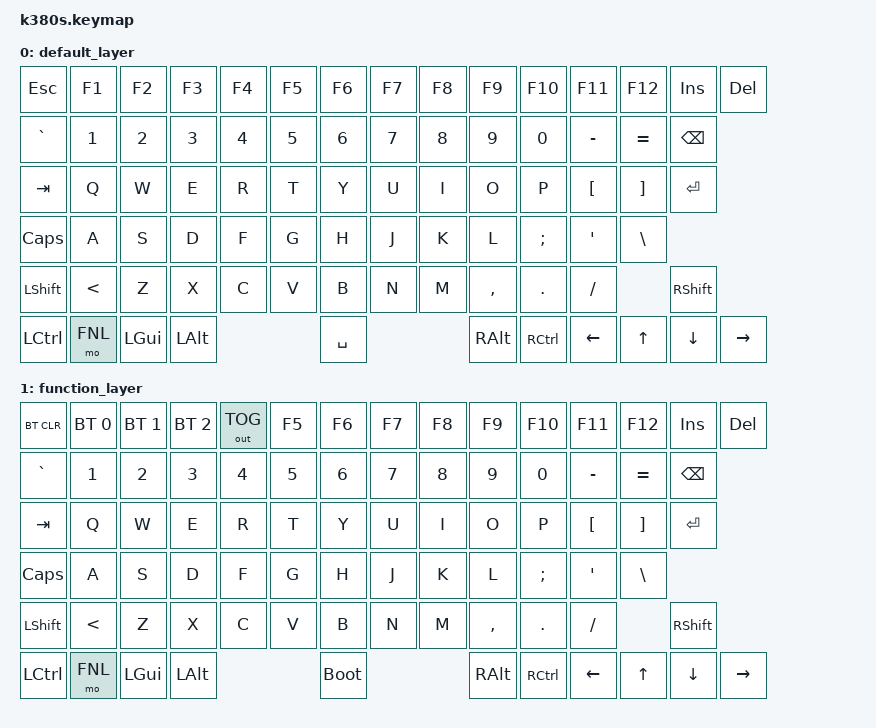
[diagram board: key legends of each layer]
#include <behaviors.dtsi>
#include <dt-bindings/zmk/keys.h>
#include <dt-bindings/zmk/bt.h>
#include <dt-bindings/zmk/outputs.h>

#define DEFAULT 0
#define FNL     1

/ {
  keymap0: keymap {
    compatible = "zmk,keymap";

    default_layer {
      bindings = <
&kp ESC    &kp F1  &kp F2   &kp F3    &kp F4  &kp F5  &kp F6  &kp F7  &kp F8  &kp F9    &kp F10   &kp F11   &kp F12    &kp INS   &kp DEL
&kp GRAV   &kp N1  &kp N2   &kp N3    &kp N4  &kp N5  &kp N6  &kp N7  &kp N8  &kp N9    &kp N0    &kp MINUS &kp EQUAL  &kp BSPC
&kp TAB    &kp Q   &kp W    &kp E     &kp R   &kp T   &kp Y   &kp U   &kp I   &kp  O    &kp P     &kp LBKT  &kp RBKT   &kp RET
&kp CLCK   &kp A   &kp S    &kp D     &kp F   &kp G   &kp H   &kp J   &kp K   &kp  L    &kp SEMI  &kp SQT   &kp BSLH
&kp LSHFT  &kp LT  &kp Z    &kp X     &kp C   &kp V   &kp B   &kp N   &kp M   &kp COMMA &kp DOT   &kp FSLH         &kp RSHFT
&kp LCTRL  &mo FNL &kp LGUI &kp LALT               &kp SPACE                  &kp RALT  &kp RCTRL &kp LEFT  &kp UP &kp DOWN   &kp RIGHT
        >;
    };

    function_layer {
      bindings = <
&bt BT_CLR &bt BT_SEL 0 &bt BT_SEL 1 &bt BT_SEL 2 &out OUT_TOG  &kp F5  &kp F6  &kp F7  &kp F8  &kp F9    &kp F10   &kp F11   &kp F12    &kp INS   &kp DEL
&kp GRAV   &kp N1       &kp N2       &kp N3       &kp N4        &kp N5  &kp N6  &kp N7  &kp N8  &kp N9    &kp N0    &kp MINUS &kp EQUAL  &kp BSPC
&kp TAB    &kp Q        &kp W        &kp E        &kp R         &kp T   &kp Y   &kp U   &kp I   &kp  O    &kp P     &kp LBKT  &kp RBKT   &kp RET
&kp CLCK   &kp A        &kp S        &kp D        &kp F         &kp G   &kp H   &kp J   &kp K   &kp  L    &kp SEMI  &kp SQT   &kp BSLH
&kp LSHFT  &kp LT       &kp Z        &kp X        &kp C         &kp V   &kp B   &kp N   &kp M   &kp COMMA &kp DOT   &kp FSLH         &kp RSHFT
&kp LCTRL  &mo FNL      &kp LGUI     &kp LALT               &bootloader                         &kp RALT  &kp RCTRL &kp LEFT  &kp UP &kp DOWN   &kp RIGHT
        >;
    };
  };
};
